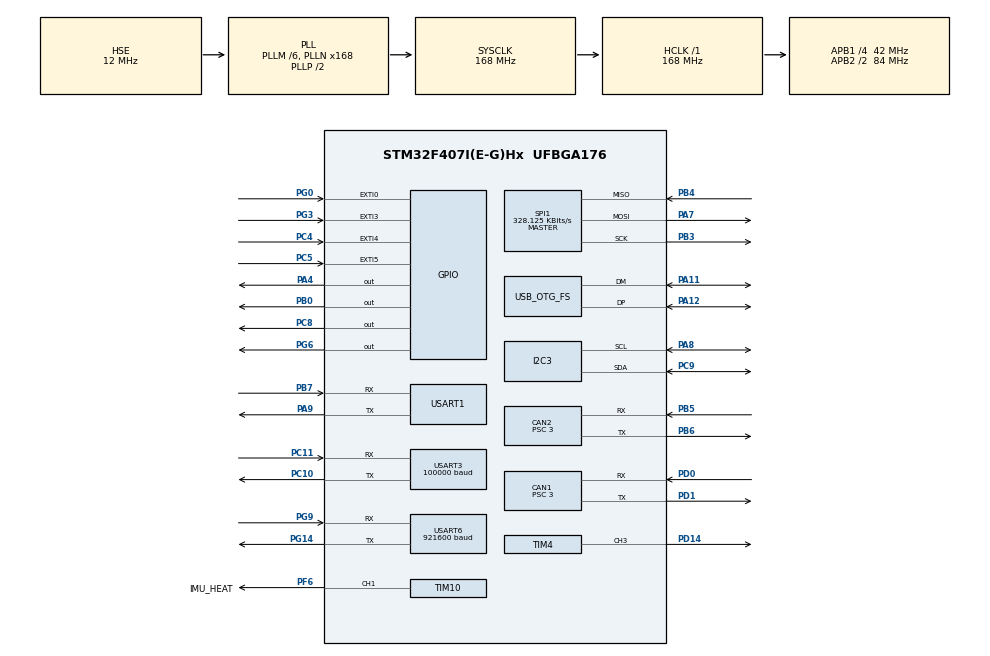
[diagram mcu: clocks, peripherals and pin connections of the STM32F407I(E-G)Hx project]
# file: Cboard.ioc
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CAN1.BS1=CAN_BS1_10TQ
CAN1.BS2=CAN_BS2_3TQ
CAN1.CalculateBaudRate=1000000
CAN1.CalculateTimeBit=1000
CAN1.CalculateTimeQuantum=71.42857142857143
CAN1.Prescaler=3
CAN2.BS1=CAN_BS1_10TQ
CAN2.BS2=CAN_BS2_3TQ
CAN2.CalculateBaudRate=1000000
CAN2.CalculateTimeBit=1000
CAN2.CalculateTimeQuantum=71.42857142857143
CAN2.Prescaler=3
Dma.Request0=SPI1_RX
Dma.Request1=SPI1_TX
Dma.Request2=USART3_RX
Dma.Request3=USART6_RX
Dma.Request4=USART6_TX
Dma.Request5=USART1_TX
Dma.Request6=USART1_RX
Dma.SPI1_RX.0.Direction=DMA_PERIPH_TO_MEMORY
Dma.SPI1_RX.0.FIFOMode=DMA_FIFOMODE_DISABLE
Dma.SPI1_RX.0.Instance=DMA2_Stream2
Dma.SPI1_RX.0.MemDataAlignment=DMA_MDATAALIGN_BYTE
Dma.SPI1_RX.0.MemInc=DMA_MINC_ENABLE
Dma.SPI1_RX.0.Mode=DMA_NORMAL
Dma.SPI1_RX.0.PeriphDataAlignment=DMA_PDATAALIGN_BYTE
Dma.SPI1_RX.0.PeriphInc=DMA_PINC_DISABLE
Dma.SPI1_RX.0.Priority=DMA_PRIORITY_VERY_HIGH
Dma.SPI1_TX.1.Direction=DMA_MEMORY_TO_PERIPH
Dma.SPI1_TX.1.FIFOMode=DMA_FIFOMODE_DISABLE
Dma.SPI1_TX.1.Instance=DMA2_Stream3
Dma.SPI1_TX.1.MemDataAlignment=DMA_MDATAALIGN_BYTE
Dma.SPI1_TX.1.MemInc=DMA_MINC_ENABLE
Dma.SPI1_TX.1.Mode=DMA_NORMAL
Dma.SPI1_TX.1.PeriphDataAlignment=DMA_PDATAALIGN_BYTE
Dma.SPI1_TX.1.PeriphInc=DMA_PINC_DISABLE
Dma.SPI1_TX.1.Priority=DMA_PRIORITY_HIGH
Dma.USART1_RX.6.Direction=DMA_PERIPH_TO_MEMORY
Dma.USART1_RX.6.FIFOMode=DMA_FIFOMODE_DISABLE
Dma.USART1_RX.6.Instance=DMA2_Stream5
Dma.USART1_RX.6.MemDataAlignment=DMA_MDATAALIGN_BYTE
Dma.USART1_RX.6.MemInc=DMA_MINC_ENABLE
Dma.USART1_RX.6.Mode=DMA_CIRCULAR
Dma.USART1_RX.6.PeriphDataAlignment=DMA_PDATAALIGN_BYTE
Dma.USART1_RX.6.PeriphInc=DMA_PINC_DISABLE
Dma.USART1_RX.6.Priority=DMA_PRIORITY_MEDIUM
Dma.USART1_TX.5.Direction=DMA_MEMORY_TO_PERIPH
Dma.USART1_TX.5.FIFOMode=DMA_FIFOMODE_DISABLE
Dma.USART1_TX.5.Instance=DMA2_Stream7
Dma.USART1_TX.5.MemDataAlignment=DMA_MDATAALIGN_BYTE
Dma.USART1_TX.5.MemInc=DMA_MINC_ENABLE
Dma.USART1_TX.5.Mode=DMA_CIRCULAR
Dma.USART1_TX.5.PeriphDataAlignment=DMA_PDATAALIGN_BYTE
Dma.USART1_TX.5.PeriphInc=DMA_PINC_DISABLE
Dma.USART1_TX.5.Priority=DMA_PRIORITY_MEDIUM
Dma.USART3_RX.2.Direction=DMA_PERIPH_TO_MEMORY
Dma.USART3_RX.2.FIFOMode=DMA_FIFOMODE_DISABLE
Dma.USART3_RX.2.Instance=DMA1_Stream1
Dma.USART3_RX.2.MemDataAlignment=DMA_MDATAALIGN_BYTE
Dma.USART3_RX.2.MemInc=DMA_MINC_ENABLE
Dma.USART3_RX.2.Mode=DMA_CIRCULAR
Dma.USART3_RX.2.PeriphDataAlignment=DMA_PDATAALIGN_BYTE
Dma.USART3_RX.2.PeriphInc=DMA_PINC_DISABLE
Dma.USART3_RX.2.Priority=DMA_PRIORITY_VERY_HIGH
Dma.USART6_RX.3.Direction=DMA_PERIPH_TO_MEMORY
Dma.USART6_RX.3.FIFOMode=DMA_FIFOMODE_DISABLE
Dma.USART6_RX.3.Instance=DMA2_Stream1
Dma.USART6_RX.3.MemDataAlignment=DMA_MDATAALIGN_BYTE
Dma.USART6_RX.3.MemInc=DMA_MINC_ENABLE
Dma.USART6_RX.3.Mode=DMA_NORMAL
Dma.USART6_RX.3.PeriphDataAlignment=DMA_PDATAALIGN_BYTE
Dma.USART6_RX.3.PeriphInc=DMA_PINC_DISABLE
Dma.USART6_RX.3.Priority=DMA_PRIORITY_HIGH
Dma.USART6_TX.4.Direction=DMA_MEMORY_TO_PERIPH
Dma.USART6_TX.4.FIFOMode=DMA_FIFOMODE_DISABLE
Dma.USART6_TX.4.Instance=DMA2_Stream6
Dma.USART6_TX.4.MemDataAlignment=DMA_MDATAALIGN_BYTE
Dma.USART6_TX.4.MemInc=DMA_MINC_ENABLE
Dma.USART6_TX.4.Mode=DMA_NORMAL
Dma.USART6_TX.4.PeriphDataAlignment=DMA_PDATAALIGN_BYTE
Dma.USART6_TX.4.PeriphInc=DMA_PINC_DISABLE
Dma.USART6_TX.4.Priority=DMA_PRIORITY_VERY_HIGH
FREERTOS.INCLUDE_eTaskGetState=1
FREERTOS.INCLUDE_pcTaskGetTaskName=1
FREERTOS.INCLUDE_uxTaskGetStackHighWaterMark=1
FREERTOS.INCLUDE_uxTaskGetStackHighWaterMark2=0
FREERTOS.INCLUDE_vTaskCleanUpResources=1
FREERTOS.INCLUDE_vTaskDelayUntil=1
FREERTOS.INCLUDE_xEventGroupSetBitFromISR=1
FREERTOS.INCLUDE_xQueueGetMutexHolder=1
FREERTOS.INCLUDE_xSemaphoreGetMutexHolder=1
FREERTOS.INCLUDE_xTaskAbortDelay=1
FREERTOS.INCLUDE_xTaskGetCurrentTaskHandle=1
FREERTOS.INCLUDE_xTaskGetHandle=1
FREERTOS.INCLUDE_xTimerPendFunctionCall=1
FREERTOS.Tasks01=Check_Task,-1,256,Start_Check_Task,Default,NULL,Dynamic,NULL,NULL;Ins_Task,3,1024,Start_Ins_Task,Default,NULL,Dynamic,NULL,NULL;Gimbal_Task,2,512,Start_Gimbal_Task,Default,NULL,Dynamic,NULL,NULL;Board_Can_Task,0,256,Start_Board_Can_Task,Default,NULL,Dynamic,NULL,NULL;Nuc_Task,3,1024,Start_Nuc_Task,Default,NULL,Dynamic,NULL,NULL;Limit_Task,2,512,Start_Limit_Task,Default,NULL,Dynamic,NULL,NULL
FREERTOS.configTOTAL_HEAP_SIZE=24567
FREERTOS.configUSE_TASK_NOTIFICATIONS=1
FREERTOS.configUSE_TIMERS=1
I2C3.I2C_Mode=I2C_Fast
Mcu.Family=STM32F4
Mcu.Name=STM32F407I(E-G)Hx
Mcu.Package=UFBGA176
NVIC.CAN1_RX0_IRQn=true\:5\:0\:true\:false\:true\:true\:true\:true\:true
NVIC.CAN2_RX1_IRQn=true\:5\:0\:true\:false\:true\:true\:true\:true\:true
NVIC.DMA1_Stream1_IRQn=true\:5\:0\:false\:false\:true\:true\:false\:true\:true
NVIC.DMA2_Stream1_IRQn=true\:5\:0\:false\:false\:true\:true\:false\:true\:true
NVIC.DMA2_Stream2_IRQn=true\:5\:0\:false\:false\:true\:true\:false\:true\:true
NVIC.DMA2_Stream3_IRQn=true\:5\:0\:false\:false\:true\:true\:false\:true\:true
NVIC.DMA2_Stream5_IRQn=true\:5\:0\:false\:false\:true\:true\:false\:true\:true
NVIC.DMA2_Stream6_IRQn=true\:5\:0\:false\:false\:true\:true\:false\:true\:true
NVIC.DMA2_Stream7_IRQn=true\:5\:0\:false\:false\:true\:true\:false\:true\:true
NVIC.EXTI0_IRQn=true\:5\:0\:false\:false\:true\:true\:true\:true\:true
NVIC.EXTI3_IRQn=true\:5\:0\:false\:false\:true\:true\:true\:true\:true
NVIC.EXTI4_IRQn=true\:5\:0\:false\:false\:true\:true\:true\:true\:true
NVIC.EXTI9_5_IRQn=true\:5\:0\:false\:false\:true\:true\:true\:true\:true
NVIC.OTG_FS_IRQn=true\:5\:0\:false\:false\:true\:true\:false\:true\:true
NVIC.PriorityGroup=NVIC_PRIORITYGROUP_4
NVIC.TIM2_IRQn=true\:15\:0\:false\:false\:true\:false\:false\:true\:true
NVIC.TIM3_IRQn=true\:5\:0\:false\:false\:true\:true\:true\:true\:true
NVIC.TimeBase=TIM2_IRQn
NVIC.TimeBaseIP=TIM2
NVIC.USART3_IRQn=true\:5\:0\:false\:false\:true\:true\:true\:true\:true
NVIC.USART6_IRQn=true\:5\:0\:false\:false\:true\:true\:true\:true\:true
PA11.Mode=Device_Only
PA11.Signal=USB_OTG_FS_DM
PA12.Mode=Device_Only
PA12.Signal=USB_OTG_FS_DP
PA13.Mode=Serial_Wire
PA13.Signal=SYS_JTMS-SWDIO
PA14.Mode=Serial_Wire
PA14.Signal=SYS_JTCK-SWCLK
PA4.GPIO_PuPd=GPIO_PULLUP
PA4.GPIO_Speed=GPIO_SPEED_FREQ_HIGH
PA4.PinState=GPIO_PIN_SET
PA4.Signal=GPIO_Output
PA7.GPIO_PuPd=GPIO_PULLUP
PA7.Mode=Full_Duplex_Master
PA7.Signal=SPI1_MOSI
PA8.Mode=I2C
PA8.Signal=I2C3_SCL
PA9.Mode=Asynchronous
PA9.Signal=USART1_TX
PB0.GPIO_PuPd=GPIO_PULLUP
PB0.GPIO_Speed=GPIO_SPEED_FREQ_HIGH
PB0.PinState=GPIO_PIN_SET
PB0.Signal=GPIO_Output
PB3.GPIO_PuPd=GPIO_PULLUP
PB3.Mode=Full_Duplex_Master
PB3.Signal=SPI1_SCK
PB4.GPIO_PuPd=GPIO_PULLUP
PB4.Mode=Full_Duplex_Master
PB4.Signal=SPI1_MISO
PB5.Mode=CAN_Activate
PB5.Signal=CAN2_RX
PB6.Mode=CAN_Activate
PB6.Signal=CAN2_TX
PB7.Mode=Asynchronous
PB7.Signal=USART1_RX
PC10.Mode=Asynchronous
PC10.Signal=USART3_TX
PC11.Mode=Asynchronous
PC11.Signal=USART3_RX
PC4.GPIO_ModeDefaultEXTI=GPIO_MODE_IT_FALLING
PC4.GPIO_PuPd=GPIO_PULLUP
PC4.Signal=GPXTI4
PC5.GPIO_ModeDefaultEXTI=GPIO_MODE_IT_FALLING
PC5.GPIO_PuPd=GPIO_PULLUP
PC5.Signal=GPXTI5
PC8.GPIO_PuPd=GPIO_NOPULL
PC8.PinState=GPIO_PIN_SET
PC8.Signal=GPIO_Output
PC9.Mode=I2C
PC9.Signal=I2C3_SDA
PD0.Mode=CAN_Activate
PD0.Signal=CAN1_RX
PD1.Mode=CAN_Activate
PD1.Signal=CAN1_TX
PD14.Signal=S_TIM4_CH3
PF6.GPIO_Label=IMU_HEAT
PF6.GPIO_PuPd=GPIO_PULLUP
PF6.GPIO_Speed=GPIO_SPEED_FREQ_HIGH
PF6.Signal=S_TIM10_CH1
PG0.GPIO_ModeDefaultEXTI=GPIO_MODE_IT_FALLING
PG0.GPIO_PuPd=GPIO_PULLUP
PG0.Signal=GPXTI0
PG14.Mode=Asynchronous
PG14.Signal=USART6_TX
PG3.GPIO_ModeDefaultEXTI=GPIO_MODE_IT_FALLING
PG3.GPIO_PuPd=GPIO_PULLUP
PG3.Signal=GPXTI3
PG6.GPIO_PuPd=GPIO_PULLUP
PG6.GPIO_Speed=GPIO_SPEED_FREQ_HIGH
PG6.PinState=GPIO_PIN_SET
PG6.Signal=GPIO_Output
PG9.Mode=Asynchronous
PG9.Signal=USART6_RX
PH0-OSC_IN.Mode=HSE-External-Oscillator
PH0-OSC_IN.Signal=RCC_OSC_IN
PH1-OSC_OUT.Mode=HSE-External-Oscillator
PH1-OSC_OUT.Signal=RCC_OSC_OUT
ProjectManager.HeapSize=0x1000
ProjectManager.StackSize=0x400
ProjectManager.TargetToolchain=MDK-ARM V5.32
RCC.48MHZClocksFreq_Value=48000000
RCC.AHBFreq_Value=168000000
RCC.APB1CLKDivider=RCC_HCLK_DIV4
RCC.APB1Freq_Value=42000000
RCC.APB1TimFreq_Value=84000000
RCC.APB2CLKDivider=RCC_HCLK_DIV2
RCC.APB2Freq_Value=84000000
RCC.APB2TimFreq_Value=168000000
RCC.CortexFreq_Value=168000000
RCC.HCLKFreq_Value=168000000
RCC.HSE_VALUE=12000000
RCC.HSI_VALUE=16000000
RCC.LSE_VALUE=32768
RCC.PLLM=6
RCC.PLLN=168
RCC.PLLQ=7
RCC.SYSCLKFreq_VALUE=168000000
RCC.SYSCLKSource=RCC_SYSCLKSOURCE_PLLCLK
RCC.VCOOutputFreq_Value=336000000
SH.S_TIM10_CH1.0=TIM10_CH1,PWM Generation1 CH1
SH.S_TIM4_CH3.0=TIM4_CH3,PWM Generation3 CH3
SPI1.BaudRatePrescaler=SPI_BAUDRATEPRESCALER_256
SPI1.CLKPhase=SPI_PHASE_2EDGE
SPI1.CLKPolarity=SPI_POLARITY_HIGH
SPI1.CalculateBaudRate=328.125 KBits/s
SPI1.Direction=SPI_DIRECTION_2LINES
SPI1.Mode=SPI_MODE_MASTER
SPI1.VirtualType=VM_MASTER
TIM10.Channel=TIM_CHANNEL_1
TIM10.Period=2000-1
TIM10.Prescaler=84-1
TIM3.AutoReloadPreload=TIM_AUTORELOAD_PRELOAD_ENABLE
TIM3.Period=10000-1
TIM3.Prescaler=168-1
TIM4.Channel-PWM\ Generation3\ CH3=TIM_CHANNEL_3
TIM4.Period=20999
USART1.VirtualMode=VM_ASYNC
USART3.BaudRate=100000
USART3.VirtualMode=VM_ASYNC
USART6.BaudRate=921600
USART6.VirtualMode=VM_ASYNC
USB_DEVICE.CLASS_NAME_FS=CDC
USB_DEVICE.VirtualMode-CDC_FS=Cdc
USB_DEVICE.VirtualModeFS=Cdc_FS
USB_OTG_FS.VirtualMode=Device_Only
VP_CRC_VS_CRC.Mode=CRC_Activate
VP_FREERTOS_VS_CMSIS_V1.Mode=CMSIS_V1
VP_SYS_VS_tim2.Mode=TIM2
VP_TIM10_VS_ClockSourceINT.Mode=Enable_Timer
VP_TIM3_VS_ClockSourceINT.Mode=Internal
VP_TIM4_VS_ClockSourceINT.Mode=Internal
VP_USB_DEVICE_VS_USB_DEVICE_CDC_FS.Mode=CDC_FS
board=custom

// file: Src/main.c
/* USER CODE BEGIN Header */
/**
  ******************************************************************************
  * @file           : main.c
  * @brief          : Main program body
  ******************************************************************************
  * @attention
  *
  * Copyright (c) 2025 STMicroelectronics.
  * All rights reserved.
  *
  * This software is licensed under terms that can be found in the LICENSE file
  * in the root directory of this software component.
  * If no LICENSE file comes with this software, it is provided AS-IS.
  *
  ******************************************************************************
  */
/* USER CODE END Header */
#include "main.h"
#include "cmsis_os.h"
#include "can.h"
#include "crc.h"
#include "dma.h"
#include "i2c.h"
#include "spi.h"
#include "tim.h"
#include "usart.h"
#include "usb_device.h"
#include "gpio.h"

/* USER CODE BEGIN Includes */

#include "VT03.h"
#include "bsp_dwt.h"
#include "bsp_can.h"
#include "bsp_buzzer.h"
#include "BMI088driver.h"
#include "Remote_Control.h"

/* USER CODE END Includes */

void SystemClock_Config(void);
void MX_FREERTOS_Init(void);

int main(void)
{

  /* MCU Configuration--------------------------------------------------------*/

  /* Reset of all peripherals, Initializes the Flash interface and the Systick. */
  HAL_Init();

  /* Configure the system clock */
  SystemClock_Config();

  /* Initialize all configured peripherals */
  MX_GPIO_Init();
  MX_DMA_Init();
  MX_I2C3_Init();
  MX_SPI1_Init();
  MX_TIM10_Init();
  MX_CAN1_Init();
  MX_USART3_UART_Init();
  MX_TIM3_Init();
  MX_USART6_UART_Init();
  MX_CRC_Init();
  MX_CAN2_Init();
  MX_TIM4_Init();
  MX_USART1_UART_Init();
  /* USER CODE BEGIN 2 */

	//BMI088
	DWT_Init(168);
	while(BMI088_init(&hspi1, 1) != BMI088_NO_ERROR){;}

	//BUZZER
	HAL_TIM_Base_Start(&htim4);
	HAL_TIM_PWM_Start(&htim4, TIM_CHANNEL_3);

	Buzzer_Off();

	//RC
	Remote_Control_Init();

	//VT03
	VT03_Init();

	//CAN
	CAN_Init();

  /* USER CODE END 2 */

  /* Call init function for freertos objects (in cmsis_os2.c) */
  MX_FREERTOS_Init();

  /* Start scheduler */
  osKernelStart();

  /* We should never get here as control is now taken by the scheduler */

  /* Infinite loop */
  while (1)
  {

  }
}

void SystemClock_Config(void)
{
  RCC_OscInitTypeDef RCC_OscInitStruct = {0};
  RCC_ClkInitTypeDef RCC_ClkInitStruct = {0};

  /** Configure the main internal regulator output voltage
  */
  __HAL_RCC_PWR_CLK_ENABLE();
  __HAL_PWR_VOLTAGESCALING_CONFIG(PWR_REGULATOR_VOLTAGE_SCALE1);

  /** Initializes the RCC Oscillators according to the specified parameters
  * in the RCC_OscInitTypeDef structure.
  */
  RCC_OscInitStruct.OscillatorType = RCC_OSCILLATORTYPE_HSE;
  RCC_OscInitStruct.HSEState = RCC_HSE_ON;
  RCC_OscInitStruct.PLL.PLLState = RCC_PLL_ON;
  RCC_OscInitStruct.PLL.PLLSource = RCC_PLLSOURCE_HSE;
  RCC_OscInitStruct.PLL.PLLM = 6;
  RCC_OscInitStruct.PLL.PLLN = 168;
  RCC_OscInitStruct.PLL.PLLP = RCC_PLLP_DIV2;
  RCC_OscInitStruct.PLL.PLLQ = 7;
  if (HAL_RCC_OscConfig(&RCC_OscInitStruct) != HAL_OK)
  {
    Error_Handler();
  }

  /** Initializes the CPU, AHB and APB buses clocks
  */
  RCC_ClkInitStruct.ClockType = RCC_CLOCKTYPE_HCLK|RCC_CLOCKTYPE_SYSCLK
                              |RCC_CLOCKTYPE_PCLK1|RCC_CLOCKTYPE_PCLK2;
  RCC_ClkInitStruct.SYSCLKSource = RCC_SYSCLKSOURCE_PLLCLK;
  RCC_ClkInitStruct.AHBCLKDivider = RCC_SYSCLK_DIV1;
  RCC_ClkInitStruct.APB1CLKDivider = RCC_HCLK_DIV4;
  RCC_ClkInitStruct.APB2CLKDivider = RCC_HCLK_DIV2;

  if (HAL_RCC_ClockConfig(&RCC_ClkInitStruct, FLASH_LATENCY_5) != HAL_OK)
  {
    Error_Handler();
  }
}

void HAL_TIM_PeriodElapsedCallback(TIM_HandleTypeDef *htim)
{
  if (htim->Instance == TIM2)
  {
    HAL_IncTick();
  }
}

void Error_Handler(void)
{
  __disable_irq();
  while (1)
  {
  }
}

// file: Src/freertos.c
/* USER CODE BEGIN Header */
/**
  ******************************************************************************
  * File Name          : freertos.c
  * Description        : Code for freertos applications
  ******************************************************************************
  * @attention
  *
  * Copyright (c) 2025 STMicroelectronics.
  * All rights reserved.
  *
  * This software is licensed under terms that can be found in the LICENSE file
  * in the root directory of this software component.
  * If no LICENSE file comes with this software, it is provided AS-IS.
  *
  ******************************************************************************
  */
/* USER CODE END Header */

#include "FreeRTOS.h"
#include "task.h"
#include "main.h"
#include "cmsis_os.h"

/* USER CODE BEGIN Includes */

#include "Nuc_Task.h"
#include "Ins_Task.h"
#include "Limit_Task.h"
#include "Check_Task.h"
#include "Gimbal_Task.h"
#include "Board_Can_Task.h"

/* USER CODE END Includes */

/* USER CODE BEGIN Variables */

int Test_Check_Flag = 0;

/* USER CODE END Variables */
osThreadId Check_TaskHandle;
osThreadId Ins_TaskHandle;
osThreadId Gimbal_TaskHandle;
osThreadId Board_Can_TaskHandle;
osThreadId Nuc_TaskHandle;
osThreadId Limit_TaskHandle;

void Start_Check_Task(void const * argument);
void Start_Ins_Task(void const * argument);
void Start_Gimbal_Task(void const * argument);
void Start_Board_Can_Task(void const * argument);
void Start_Nuc_Task(void const * argument);
void Start_Limit_Task(void const * argument);

extern void MX_USB_DEVICE_Init(void);
void MX_FREERTOS_Init(void); /* (MISRA C 2004 rule 8.1) */

/* GetIdleTaskMemory prototype (linked to static allocation support) */
void vApplicationGetIdleTaskMemory( StaticTask_t **ppxIdleTaskTCBBuffer, StackType_t **ppxIdleTaskStackBuffer, uint32_t *pulIdleTaskStackSize );

/* GetTimerTaskMemory prototype (linked to static allocation support) */
void vApplicationGetTimerTaskMemory( StaticTask_t **ppxTimerTaskTCBBuffer, StackType_t **ppxTimerTaskStackBuffer, uint32_t *pulTimerTaskStackSize );

/* USER CODE BEGIN GET_IDLE_TASK_MEMORY */
static StaticTask_t xIdleTaskTCBBuffer;
static StackType_t xIdleStack[configMINIMAL_STACK_SIZE];

void vApplicationGetIdleTaskMemory( StaticTask_t **ppxIdleTaskTCBBuffer, StackType_t **ppxIdleTaskStackBuffer, uint32_t *pulIdleTaskStackSize )
{
  *ppxIdleTaskTCBBuffer = &xIdleTaskTCBBuffer;
  *ppxIdleTaskStackBuffer = &xIdleStack[0];
  *pulIdleTaskStackSize = configMINIMAL_STACK_SIZE;
  /* place for user code */
}
/* USER CODE END GET_IDLE_TASK_MEMORY */

/* USER CODE BEGIN GET_TIMER_TASK_MEMORY */
static StaticTask_t xTimerTaskTCBBuffer;
static StackType_t xTimerStack[configTIMER_TASK_STACK_DEPTH];

void vApplicationGetTimerTaskMemory( StaticTask_t **ppxTimerTaskTCBBuffer, StackType_t **ppxTimerTaskStackBuffer, uint32_t *pulTimerTaskStackSize )
{
  *ppxTimerTaskTCBBuffer = &xTimerTaskTCBBuffer;
  *ppxTimerTaskStackBuffer = &xTimerStack[0];
  *pulTimerTaskStackSize = configTIMER_TASK_STACK_DEPTH;
  /* place for user code */
}
/* USER CODE END GET_TIMER_TASK_MEMORY */

void MX_FREERTOS_Init(void) {

  /* Create the thread(s) */
  /* definition and creation of Check_Task */
  osThreadDef(Check_Task, Start_Check_Task, osPriorityBelowNormal, 0, 256);
  Check_TaskHandle = osThreadCreate(osThread(Check_Task), NULL);

  /* definition and creation of Ins_Task */
  osThreadDef(Ins_Task, Start_Ins_Task, osPriorityRealtime, 0, 1024);
  Ins_TaskHandle = osThreadCreate(osThread(Ins_Task), NULL);

  /* definition and creation of Gimbal_Task */
  osThreadDef(Gimbal_Task, Start_Gimbal_Task, osPriorityHigh, 0, 512);
  Gimbal_TaskHandle = osThreadCreate(osThread(Gimbal_Task), NULL);

  /* definition and creation of Board_Can_Task */
  osThreadDef(Board_Can_Task, Start_Board_Can_Task, osPriorityNormal, 0, 256);
  Board_Can_TaskHandle = osThreadCreate(osThread(Board_Can_Task), NULL);

  /* definition and creation of Nuc_Task */
  osThreadDef(Nuc_Task, Start_Nuc_Task, osPriorityRealtime, 0, 1024);
  Nuc_TaskHandle = osThreadCreate(osThread(Nuc_Task), NULL);

  /* definition and creation of Limit_Task */
  osThreadDef(Limit_Task, Start_Limit_Task, osPriorityHigh, 0, 512);
  Limit_TaskHandle = osThreadCreate(osThread(Limit_Task), NULL);

}

void Start_Check_Task(void const * argument)
{
  /* init code for USB_DEVICE */
  MX_USB_DEVICE_Init();
  /* USER CODE BEGIN Start_Check_Task */

	Check_Init();

  /* Infinite loop */
  for(;;)
  {
		Test_Check_Flag++;

		if(Test_Check_Flag > 5000)
		{
			Test_Check_Flag = 0;
		}

    Check_Task();

    osDelay(10);
  }
  /* USER CODE END Start_Check_Task */
}

void Start_Ins_Task(void const * argument)
{
  /* USER CODE BEGIN Start_Ins_Task */

	INS_Init();

  /* Infinite loop */
  for(;;)
  {
		INS_Task();

    osDelay(1);
  }
  /* USER CODE END Start_Ins_Task */
}

void Start_Gimbal_Task(void const * argument)
{
  /* USER CODE BEGIN Start_Gimbal_Task */

	Gimbal_Init();

  /* Infinite loop */
  for(;;)
  {

		Gimbal_Task();

    osDelay(1);
  }
  /* USER CODE END Start_Gimbal_Task */
}

void Start_Board_Can_Task(void const * argument)
{
  /* USER CODE BEGIN Start_Board_Can_Task */

	Board_Can_Init();

  /* Infinite loop */
  for(;;)
  {

		Board_Can_Task();

    osDelay(1);
  }
  /* USER CODE END Start_Board_Can_Task */
}

void Start_Nuc_Task(void const * argument)
{
  /* USER CODE BEGIN Start_Nuc_Task */

	Nuc_Init();

  /* Infinite loop */
  for(;;)
  {

		Nuc_Task();

    osDelay(1);
  }
  /* USER CODE END Start_Nuc_Task */
}

void Start_Limit_Task(void const * argument)
{
  /* USER CODE BEGIN Start_Limit_Task */

	Limit_Init();

  /* Infinite loop */
  for(;;)
  {

		Limit_Task();

    osDelay(1);
  }
  /* USER CODE END Start_Limit_Task */
}
